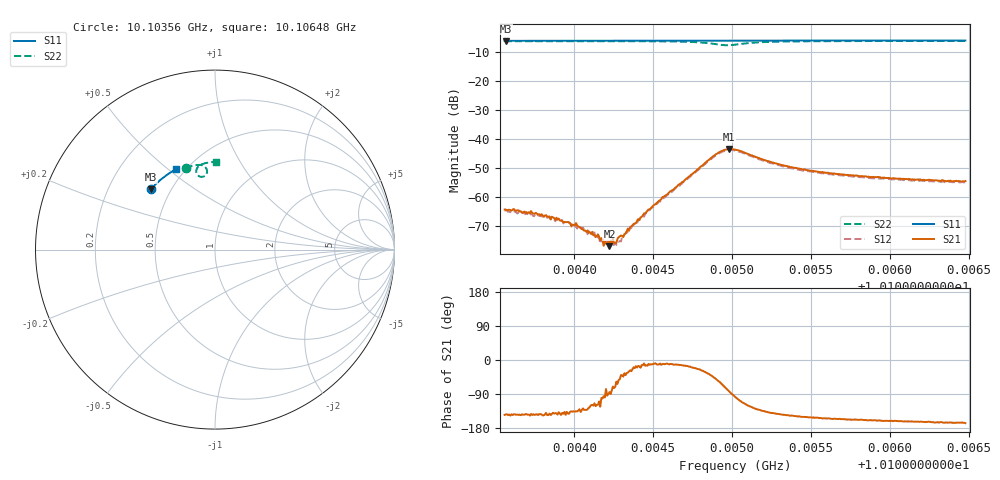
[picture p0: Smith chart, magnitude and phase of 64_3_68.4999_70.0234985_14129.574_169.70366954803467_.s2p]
#  HZ  S  RI  R  50.00
! Rohde & Schwarz Vector Network Analyzer
! Rohde-Schwarz,ZNB20-2Port,1311601062101988,3.16
! Created: UTC 3/20/2024, 4:51:22 PM
! freq[Hz]  re:S11  im:S11  re:S21  im:S21  re:S12  im:S12  re:S22  im:S22
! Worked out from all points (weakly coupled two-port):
!   401 points, 10.10356 GHz to 10.10648 GHz, reference 50 ohm
!   highest |S21| = -43.48 dB at 10.10498 GHz (marker M1); lowest = -77.0 dB at 10.10422 GHz (marker M2)
!   lowest |S11| = -6.2 dB at 10.10357 GHz (marker M3), VSWR 2.92, Z = 19.5 + j17.2 ohm
!   |S11| at or under -10 dB: nowhere
!   |S22| runs from -7.7 to -6.2 dB; largest |S21 - S12| = 0.00066
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1.0103558e10  -0.3567 0.3362  -0.000496 -0.00035  -0.000434 -0.000391  -0.1638 0.4537
1.0103565e10  -0.3561 0.3366  -0.000487 -0.000358  -0.000439 -0.000386  -0.1633 0.4539
1.0103828e10  -0.3454 0.3485  -0.000377 -0.00026  -0.000328 -0.000287  -0.1461 0.4604
1.0104011e10  -0.338 0.3567  -0.000251 -0.000251  -0.000204 -0.000245  -0.1335 0.4645
1.0104047e10  -0.3364 0.3581  -0.000187 -0.000208  -0.00017 -0.000246  -0.1309 0.4654
1.0104113e10  -0.3336 0.3611  -0.00012 -0.00022  -0.000108 -0.000199  -0.126 0.4665
1.0104164e10  -0.3313 0.3634  -9.8e-05 -0.000149  -3.29e-05 -0.000154  -0.1221 0.4676
1.0104193e10  -0.3302 0.3644  -2.66e-05 -0.000171  -3.63e-06 -0.000192  -0.1199 0.4681
1.0104222e10  -0.3288 0.3657  1.29e-05 -0.000141  3.3e-05 -0.000164  -0.1177 0.4686
1.0104252e10  -0.3276 0.3671  4.4e-05 -0.000153  5.91e-05 -0.000137  -0.1154 0.469
1.0104281e10  -0.3263 0.3683  0.000124 -0.000161  0.000115 -0.000121  -0.113 0.4697
1.0104317e10  -0.3247 0.3698  0.000186 -0.000131  0.000188 -0.000125  -0.1098 0.4702
1.0104419e10  -0.3202 0.3742  0.000416 -0.000156  0.000427 -8.74e-05  -0.1008 0.4715
1.0104536e10  -0.3149 0.3788  0.000841 -0.000173  0.000828 -7.22e-05  -0.089 0.4723
1.0104887e10  -0.2986 0.3925  0.00352 -0.00376  0.00371 -0.00328  -0.0443 0.4308
1.0104938e10  -0.2963 0.3945  0.00265 -0.00566  0.00299 -0.00519  -0.0556 0.4116
1.0104982e10  -0.2942 0.396  0.000805 -0.00665  0.00133 -0.00628  -0.0756 0.4051
1.0105018e10  -0.2927 0.3974  -0.000786 -0.00651  -0.000203 -0.00629  -0.0914 0.4105
1.0105252e10  -0.2817 0.4062  -0.00301 -0.00254  -0.00266 -0.00271  -0.0929 0.4624
1.0105507e10  -0.2692 0.4156  -0.00249 -0.00131  -0.00229 -0.00148  -0.0682 0.4771
1.0105996e10  -0.2445 0.432  -0.002 -0.000704  -0.00186 -0.000822  -0.0303 0.4858
1.0106478e10  -0.2193 0.4466  -0.00183 -0.000434  -0.00169 -0.000587  0.00303 0.4888
